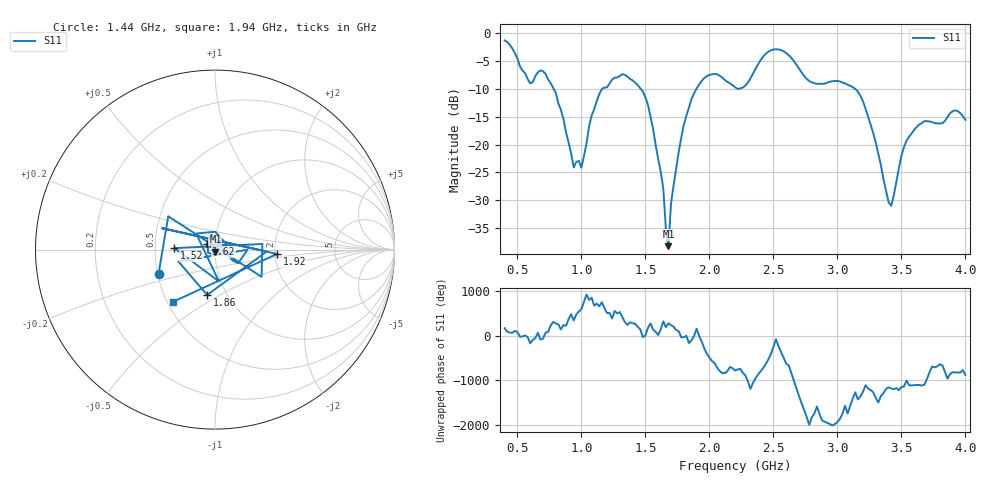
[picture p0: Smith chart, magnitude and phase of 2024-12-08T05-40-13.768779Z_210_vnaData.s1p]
!Created with skrf (http://scikit-rf.org).
# Hz S RI R 50.0
!freq ReS11 ImS11
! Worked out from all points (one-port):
!   181 points, 400 MHz to 4 GHz, reference 50 ohm
!   lowest |S11| = -38.3 dB at 1.68 GHz (marker M1), VSWR 1.02, Z = 50.2 - j1.2 ohm
!   |S11| at or under -10 dB: 783.2 MHz to 1.16 GHz (377.2 MHz wide, 38.8 % of centre); 1.464 GHz to 1.898 GHz (434.6 MHz wide, 25.9 % of centre); 3.139 GHz to end of sweep (the widest 3 of 4)
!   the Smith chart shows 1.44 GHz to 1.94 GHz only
!   S11 on the Smith chart (normalised r, x): 1.44 GHz: 0.51, -0.16; 1.52 GHz: 0.63, +0.01; 1.62 GHz: 0.91, +0.06; 1.86 GHz: 0.81, -0.44; 1.92 GHz: 2.05, -0.11; 1.94 GHz: 0.54, -0.36
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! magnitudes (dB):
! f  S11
! 400 MHz  -1.3
! 600 MHz  -9.0
! 720 MHz  -7.3
! 860 MHz  -15.4
! 940 MHz  -24.1
! 1 GHz  -24.2
! 1.14 GHz  -10.9
! 1.3 GHz  -7.7
! 1.44 GHz  -9.3
! 1.52 GHz  -12.9
! 1.62 GHz  -24.9
! 1.68 GHz  -38.3
! 1.7 GHz  -30.6
! 1.76 GHz  -21.4
! 1.86 GHz  -11.8
! 1.92 GHz  -9.2
! 1.94 GHz  -8.6
! 2.2 GHz  -9.7
! 2.48 GHz  -3.1
! 2.66 GHz  -5.0
! 2.8 GHz  -8.8
! 3.1 GHz  -9.5
! 3.22 GHz  -13.6
! 3.42 GHz  -31.0
! 3.5 GHz  -22.0
! 3.56 GHz  -18.6
! 3.92 GHz  -13.9
! 4 GHz  -15.6
